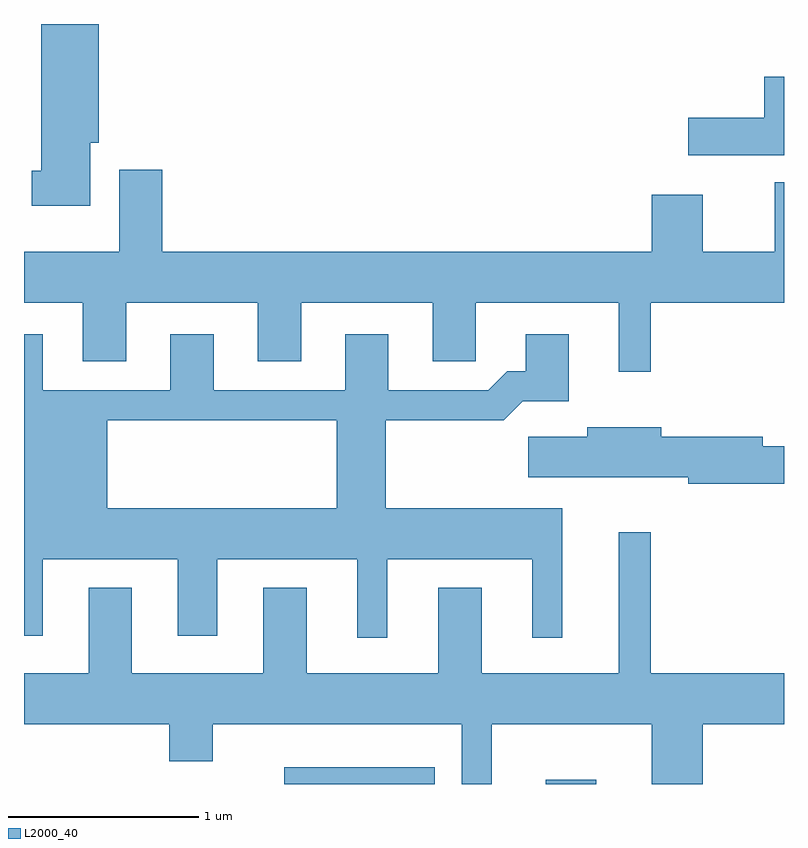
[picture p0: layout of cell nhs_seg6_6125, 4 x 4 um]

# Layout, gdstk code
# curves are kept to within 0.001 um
import gdstk
lib = gdstk.Library(unit=1e-6, precision=1e-09)
def R(c, l, rs):  # rectangles x0, y0, x1, y1
    for r in rs: c.add(gdstk.rectangle(r[:2], r[2:], *l))
def P(c, l, *ps):  # polygons
    for p in ps: c.add(gdstk.Polygon(p, *l))
L2000_40 = (2000, 40)

nhs_seg6_6125 = lib.new_cell('nhs_seg6_6125')
R(nhs_seg6_6125, L2000_40, [(372.981,1554.162,373.773,1554.249), (374.356,1554.162,374.624,1554.184)])
P(nhs_seg6_6125, L2000_40, [(371.959,1557.536),(372.004,1557.536),(372.004,1558.162),(371.701,1558.162),(371.701,1557.389),(371.651,1557.389),(371.651,1557.206),(371.959,1557.206)],
  [(375.611,1557.884),(375.506,1557.884),(375.506,1557.669),(375.106,1557.669),(375.106,1557.471),(375.611,1557.471)],
  [(374.909,1556.696),(375.611,1556.696),(375.611,1557.328),(375.561,1557.328),(375.561,1556.964),(375.184,1556.964),(375.184,1557.264),(374.916,1557.264),(374.916,1556.964),(372.339,1556.964),(372.339,1557.394),(372.111,1557.394),(372.111,1556.964),(371.611,1556.964),(371.611,1556.696),(371.921,1556.696),(371.921,1556.386),(372.149,1556.386),(372.149,1556.696),(372.841,1556.696),(372.841,1556.386),(373.069,1556.386),(373.069,1556.696),(373.761,1556.696),(373.761,1556.386),(373.989,1556.386),(373.989,1556.696),(374.741,1556.696),(374.741,1556.333),(374.909,1556.333)],
  [(371.709,1554.941),(371.709,1555.346),(372.421,1555.346),(372.421,1554.941),(372.629,1554.941),(372.629,1555.346),(373.366,1555.346),(373.366,1554.933),(373.524,1554.933),(373.524,1555.346),(374.286,1555.346),(374.286,1554.933),(374.444,1554.933),(374.444,1555.614),(373.514,1555.614),(373.514,1556.076),(374.137,1556.076),(374.237,1556.176),(374.479,1556.176),(374.479,1556.529),(374.251,1556.529),(374.251,1556.334),(374.154,1556.334),(374.054,1556.234),(373.529,1556.234),(373.529,1556.529),(373.301,1556.529),(373.301,1556.234),(372.609,1556.234),(372.609,1556.529),(372.381,1556.529),(372.381,1556.234),(371.709,1556.234),(371.709,1556.529),(371.611,1556.529),(371.611,1555.614),(372.049,1555.614),(372.049,1556.076),(373.256,1556.076),(373.256,1555.614),(371.611,1555.614),(371.611,1554.941)],
  [(375.611,1555.939),(375.499,1555.939),(375.499,1555.989),(374.964,1555.989),(374.964,1556.039),(374.576,1556.039),(374.576,1555.989),(374.266,1555.989),(374.266,1555.776),(375.106,1555.776),(375.106,1555.741),(375.611,1555.741)],
  [(374.074,1554.476),(374.916,1554.476),(374.916,1554.162),(375.184,1554.162),(375.184,1554.476),(375.611,1554.476),(375.611,1554.744),(374.909,1554.744),(374.909,1555.488),(374.741,1555.488),(374.741,1554.744),(374.019,1554.744),(374.019,1555.194),(373.791,1555.194),(373.791,1554.744),(373.099,1554.744),(373.099,1555.194),(372.871,1555.194),(372.871,1554.744),(372.179,1554.744),(372.179,1555.194),(371.951,1555.194),(371.951,1554.744),(371.611,1554.744),(371.611,1554.476),(372.376,1554.476),(372.376,1554.281),(372.604,1554.281),(372.604,1554.476),(373.916,1554.476),(373.916,1554.162),(374.074,1554.162)])

lib.write_gds('nhs_seg6_6125.gds')
